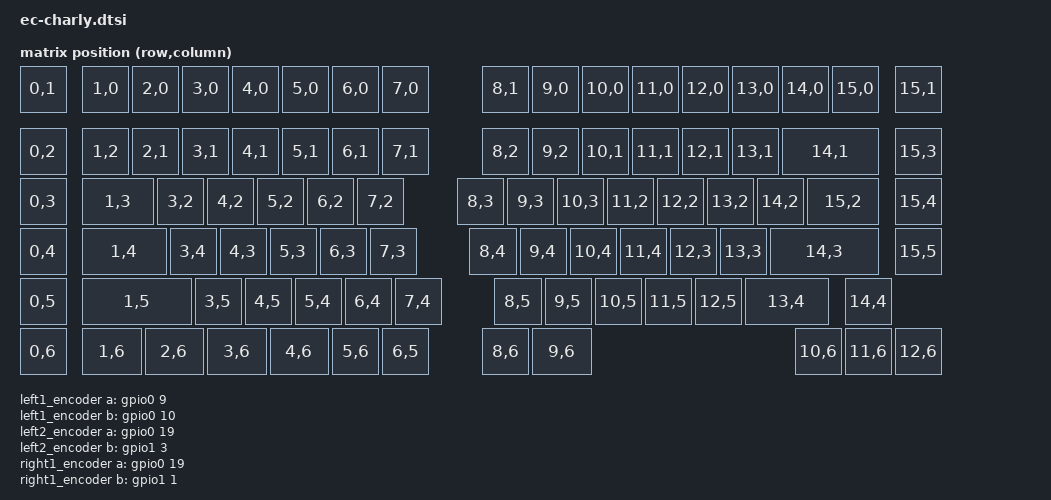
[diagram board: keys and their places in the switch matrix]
#include <dt-bindings/zmk/matrix_transform.h>
#include <dt-bindings/input/input-event-codes.h>
#include <physical_layouts.dtsi>

&uicr {
    nfct-pins-as-gpios;
};

/ {
    chosen {
        zmk,kscan = &kscan0;
        zmk,physical-layout = &physical_layout0; // ← ZMK Studio用にここに追加しておくと確実です
    };

    // 1つ目の定義に kscan の情報を統合しました
    physical_layout0: physical_layout0 {
        compatible = "zmk,physical-layout";
        display-name = "Default Layout";
        transform = <&default_transform>;
        kscan = <&kscan0>; // ← ここに追記しました
        keys  //                    w   h    x    y      rot     rx     ry
            
            = <&key_physical_attrs 100 100    0    0       0      0      0>

            , <&key_physical_attrs 100 100  125    0       0      0      0>
            , <&key_physical_attrs 100 100  225    0       0      0      0>
            , <&key_physical_attrs 100 100  325    0       0      0      0>
            , <&key_physical_attrs 100 100  425    0       0      0      0>
            , <&key_physical_attrs 100 100  525    0       0      0      0>
            , <&key_physical_attrs 100 100  625    0       0      0      0>
            , <&key_physical_attrs 100 100  725    0       0      0      0>

            , <&key_physical_attrs 100 100  925    0       0      0      0>
            , <&key_physical_attrs 100 100 1025    0       0      0      0>
            , <&key_physical_attrs 100 100 1125    0       0      0      0>
            , <&key_physical_attrs 100 100 1225    0       0      0      0>
            , <&key_physical_attrs 100 100 1325    0       0      0      0>
            , <&key_physical_attrs 100 100 1425    0       0      0      0>
            , <&key_physical_attrs 100 100 1525    0       0      0      0>
            , <&key_physical_attrs 100 100 1625    0       0      0      0>

            , <&key_physical_attrs 100 100 1750    0       0      0      0>


        // Row 1
            , <&key_physical_attrs 100 100    0  125       0      0      0>

            , <&key_physical_attrs 100 100  125  125       0      0      0>
            , <&key_physical_attrs 100 100  225  125       0      0      0>
            , <&key_physical_attrs 100 100  325  125       0      0      0>
            , <&key_physical_attrs 100 100  425  125       0      0      0>
            , <&key_physical_attrs 100 100  525  125       0      0      0>
            , <&key_physical_attrs 100 100  625  125       0      0      0>
            , <&key_physical_attrs 100 100  725  125       0      0      0>

            , <&key_physical_attrs 100 100  925  125       0      0      0>
            , <&key_physical_attrs 100 100 1025  125       0      0      0>
            , <&key_physical_attrs 100 100 1125  125       0      0      0>
            , <&key_physical_attrs 100 100 1225  125       0      0      0>
            , <&key_physical_attrs 100 100 1325  125       0      0      0>
            , <&key_physical_attrs 100 100 1425  125       0      0      0>
            , <&key_physical_attrs 200 100 1525  125       0      0      0>

            , <&key_physical_attrs 100 100 1750  125       0      0      0>


        // Row 2
            , <&key_physical_attrs 100 100    0  225       0      0      0>

            , <&key_physical_attrs 150 100  125  225       0      0      0>
            , <&key_physical_attrs 100 100  275  225       0      0      0>
            , <&key_physical_attrs 100 100  375  225       0      0      0>
            , <&key_physical_attrs 100 100  475  225       0      0      0>
            , <&key_physical_attrs 100 100  575  225       0      0      0>
            , <&key_physical_attrs 100 100  675  225       0      0      0>

            , <&key_physical_attrs 100 100  875  225       0      0      0>
            , <&key_physical_attrs 100 100  975  225       0      0      0>
            , <&key_physical_attrs 100 100 1075  225       0      0      0>
            , <&key_physical_attrs 100 100 1175  225       0      0      0>
            , <&key_physical_attrs 100 100 1275  225       0      0      0>
            , <&key_physical_attrs 100 100 1375  225       0      0      0>
            , <&key_physical_attrs 100 100 1475  225       0      0      0>
            , <&key_physical_attrs 150 100 1575  225       0      0      0>

            , <&key_physical_attrs 100 100 1750  225       0      0      0>


        // Row 3
            , <&key_physical_attrs 100 100    0  325       0      0      0>

            , <&key_physical_attrs 175 100  125  325       0      0      0>
            , <&key_physical_attrs 100 100  300  325       0      0      0>
            , <&key_physical_attrs 100 100  400  325       0      0      0>
            , <&key_physical_attrs 100 100  500  325       0      0      0>
            , <&key_physical_attrs 100 100  600  325       0      0      0>
            , <&key_physical_attrs 100 100  700  325       0      0      0>

            , <&key_physical_attrs 100 100  900  325       0      0      0>
            , <&key_physical_attrs 100 100 1000  325       0      0      0>
            , <&key_physical_attrs 100 100 1100  325       0      0      0>
            , <&key_physical_attrs 100 100 1200  325       0      0      0>
            , <&key_physical_attrs 100 100 1300  325       0      0      0>
            , <&key_physical_attrs 100 100 1400  325       0      0      0>
            , <&key_physical_attrs 225 100 1500  325       0      0      0>

            , <&key_physical_attrs 100 100 1750  325       0      0      0>


        // Row 4
            , <&key_physical_attrs 100 100    0  425       0      0      0>

            , <&key_physical_attrs 225 100  125  425       0      0      0>
            , <&key_physical_attrs 100 100  350  425       0      0      0>
            , <&key_physical_attrs 100 100  450  425       0      0      0>
            , <&key_physical_attrs 100 100  550  425       0      0      0>
            , <&key_physical_attrs 100 100  650  425       0      0      0>
            , <&key_physical_attrs 100 100  750  425       0      0      0>

            , <&key_physical_attrs 100 100  950  425       0      0      0>
            , <&key_physical_attrs 100 100 1050  425       0      0      0>
            , <&key_physical_attrs 100 100 1150  425       0      0      0>
            , <&key_physical_attrs 100 100 1250  425       0      0      0>
            , <&key_physical_attrs 100 100 1350  425       0      0      0>
            , <&key_physical_attrs 175 100 1450  425       0      0      0>

            , <&key_physical_attrs 100 100 1650  425       0      0      0>


        // Row 5
            , <&key_physical_attrs 100 100    0  525       0      0      0>

            , <&key_physical_attrs 125 100  125  525       0      0      0>
            , <&key_physical_attrs 125 100  250  525       0      0      0>
            , <&key_physical_attrs 125 100  375  525       0      0      0>
            , <&key_physical_attrs 125 100  500  525       0      0      0>
            , <&key_physical_attrs 100 100  625  525       0      0      0>
            , <&key_physical_attrs 100 100  725  525       0      0      0>

            , <&key_physical_attrs 100 100  925  525       0      0      0>
            , <&key_physical_attrs 125 100 1025  525       0      0      0>

            , <&key_physical_attrs 100 100 1550  525       0      0      0>
            , <&key_physical_attrs 100 100 1650  525       0      0      0>
            , <&key_physical_attrs 100 100 1750  525       0      0      0>
            ;
    };

    default_transform: keymap_transform0 {
        compatible = "zmk,matrix-transform";
        columns = <7>;
        rows = <16>;
        map = <
        RC(0,1) RC(1,0) RC(2,0) RC(3,0) RC(4,0) RC(5,0) RC(6,0) RC(7,0)     RC(8,1) RC(9,0) RC(10,0) RC(11,0) RC(12,0) RC(13,0) RC(14,0) RC(15,0) RC(15,1)
        RC(0,2) RC(1,2) RC(2,1) RC(3,1) RC(4,1) RC(5,1) RC(6,1) RC(7,1)     RC(8,2) RC(9,2) RC(10,1) RC(11,1) RC(12,1) RC(13,1) RC(14,1)          RC(15,3)
        RC(0,3) RC(1,3)         RC(3,2) RC(4,2) RC(5,2) RC(6,2) RC(7,2)     RC(8,3) RC(9,3) RC(10,3) RC(11,2) RC(12,2) RC(13,2) RC(14,2) RC(15,2) RC(15,4)
        RC(0,4) RC(1,4)         RC(3,4) RC(4,3) RC(5,3) RC(6,3) RC(7,3)     RC(8,4) RC(9,4) RC(10,4) RC(11,4) RC(12,3) RC(13,3) RC(14,3)          RC(15,5)
        RC(0,5) RC(1,5)         RC(3,5) RC(4,5) RC(5,4) RC(6,4) RC(7,4)     RC(8,5) RC(9,5) RC(10,5) RC(11,5) RC(12,5) RC(13,4)           RC(14,4)
        RC(0,6) RC(1,6) RC(2,6) RC(3,6) RC(4,6)         RC(5,6) RC(6,5)     RC(8,6) RC(9,6)                                     RC(10,6) RC(11,6) RC(12,6)
        >;
    };

    kscan0: kscan0 {
        compatible = "zmk,kscan-gpio-charlieplex";
        wakeup-source;
    };


    left1_encoder: encoder_left1 {
        compatible = "alps,ec11";
        a-gpios = <&gpio0 9 (GPIO_ACTIVE_HIGH | GPIO_PULL_UP)>;
        b-gpios = <&gpio0 10 (GPIO_ACTIVE_HIGH | GPIO_PULL_UP)>;
        steps = <40>;
        status = "disabled";
    };
    left2_encoder: encoder_left2 {
        compatible = "alps,ec11";
        a-gpios = <&gpio0 19 (GPIO_ACTIVE_HIGH | GPIO_PULL_UP)>;
        b-gpios = <&gpio1 3 (GPIO_ACTIVE_HIGH | GPIO_PULL_UP)>;
        steps = <80>;
        status = "disabled";
    };

    right1_encoder: encoder_right1 {
        compatible = "alps,ec11";
        a-gpios = <&gpio0 19 (GPIO_ACTIVE_HIGH | GPIO_PULL_UP)>;
        b-gpios = <&gpio1 1 (GPIO_ACTIVE_HIGH | GPIO_PULL_UP)>;
        steps = <80>;
        status = "disabled";
    };
    right2_encoder: encoder_right2 {
        compatible = "alps,ec11";
        a-gpios = <&gpio0 9 (GPIO_ACTIVE_HIGH | GPIO_PULL_UP)>;
        b-gpios = <&gpio0 10 (GPIO_ACTIVE_HIGH | GPIO_PULL_UP)>;
        steps = <40>;
        status = "disabled";
    };

    sensors: sensors {
        compatible = "zmk,keymap-sensors";
        sensors = <&left1_encoder &left2_encoder &right1_encoder &right2_encoder>;
        triggers-per-rotation = <20>;
    };
};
